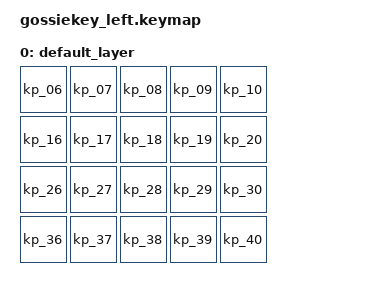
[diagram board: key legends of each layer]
/ {
  keymap {
    compatible = "zmk,keymap";

    default_layer {
      bindings = <
        &kp kp_06  &kp kp_07  &kp kp_08  &kp kp_09  &kp kp_10
        &kp kp_16  &kp kp_17  &kp kp_18  &kp kp_19  &kp kp_20
        &kp kp_26  &kp kp_27  &kp kp_28  &kp kp_29  &kp kp_30
        &kp kp_36  &kp kp_37  &kp kp_38  &kp kp_39  &kp kp_40
      >;
    };
  };
};
